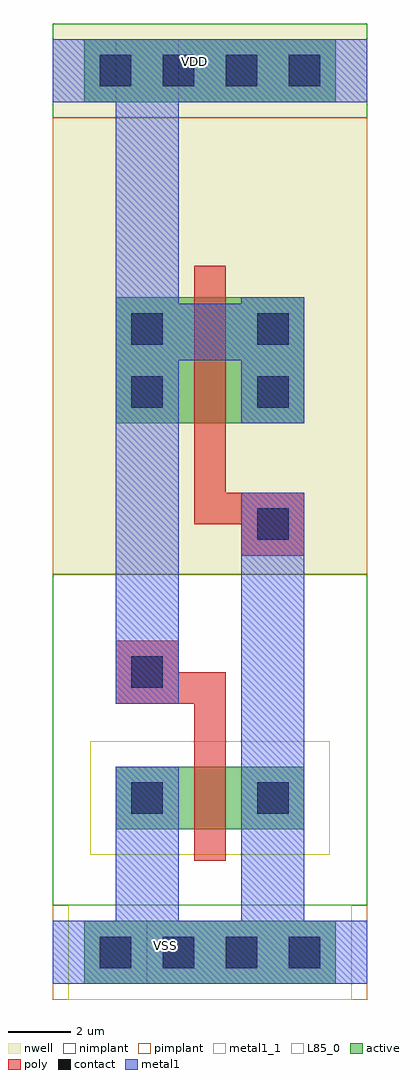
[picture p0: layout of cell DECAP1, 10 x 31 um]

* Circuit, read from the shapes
.subckt DECAP1 VDD VSS
M1 VSS VDD VSS VSS nfet w=2u l=1u
M2 VDD VSS VDD VDD pfet w=4u l=1u
.ends

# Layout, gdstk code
import gdstk
lib = gdstk.Library(unit=1e-6, precision=5e-10)
def R(c, l, rs):  # rectangles x0, y0, x1, y1
    for r in rs: c.add(gdstk.rectangle(r[:2], r[2:], *l))
def A(c, l, x, y, w, h, nx, ny, dx, dy):  # array of equal rectangles
    R(c, l, [(x+i*dx, y+j*dy, x+i*dx+w, y+j*dy+h) for i in range(nx) for j in range(ny)])
active = (1, 0)
nwell = (2, 0)
poly = (3, 0)
nimplant = (4, 0)
pimplant = (5, 0)
contact = (6, 0)
metal1 = (7, 0)
metal1_1 = (7, 1)
L85_0 = (85, 0)

nmos4_cdns_4 = lib.new_cell('nmos4_CDNS_4')
R(nmos4_cdns_4, active, [(1,1,7,3)])
R(nmos4_cdns_4, poly, [(3.5,0,4.5,4), (3.6,3.4,4.4,3.9)])
R(nmos4_cdns_4, nimplant, [(0,0,8,4)])
R(nmos4_cdns_4, contact, [(1.5,1.5,2.5,2.5), (5.5,1.5,6.5,2.5)])
R(nmos4_cdns_4, metal1, [(1,1,3,3), (5,1,7,3), (1.3,1.3,2.7,2.7), (5.3,1.3,6.7,2.7)])
R(nmos4_cdns_4, L85_0, [(0.2,0.2,7.8,3.8)])

pmos4_cdns_5 = lib.new_cell('pmos4_CDNS_5')
R(pmos4_cdns_5, active, [(1,1,7,5)])
R(pmos4_cdns_5, nwell, [(0.2,0.2,7.8,5.8)])
R(pmos4_cdns_5, poly, [(3.5,0,4.5,6), (3.6,5.5,4.4,5.9)])
R(pmos4_cdns_5, pimplant, [(0,0,8,6)])
R(pmos4_cdns_5, contact, [(1.5,1.5,2.5,2.5), (5.5,1.5,6.5,2.5), (1.5,3.5,2.5,4.5), (5.5,3.5,6.5,4.5)])
R(pmos4_cdns_5, metal1, [(1,1,3,5), (5,1,7,5), (1.3,1.3,2.7,2.7), (5.3,1.3,6.7,2.7)])

m1_psub_cdns_1 = lib.new_cell('M1_PSUB_CDNS_1')
R(m1_psub_cdns_1, active, [(-4,-1,4,1)])
R(m1_psub_cdns_1, pimplant, [(-4.5,-1.5,4.5,1.5)])
A(m1_psub_cdns_1, contact, -3.5, -0.5, 1, 1, 4, 1, 2, 0)
R(m1_psub_cdns_1, metal1, [(-4,-1,4,1)])
R(m1_psub_cdns_1, L85_0, [(-4.5,-1.5,4.5,1.5)])

m1_nwell_cdns_2 = lib.new_cell('M1_NWELL_CDNS_2')
R(m1_nwell_cdns_2, active, [(-4,-1,4,1)])
R(m1_nwell_cdns_2, nwell, [(-4.5,-1.5,4.5,1.5)])
R(m1_nwell_cdns_2, nimplant, [(-4.5,-1.5,4.5,1.5)])
A(m1_nwell_cdns_2, contact, -3.5, -0.5, 1, 1, 4, 1, 2, 0)
R(m1_nwell_cdns_2, metal1, [(-4,-1,4,1)])

m1_po_cdns_3 = lib.new_cell('M1_PO_CDNS_3')
R(m1_po_cdns_3, poly, [(-1,-1,1,1)])
R(m1_po_cdns_3, contact, [(-0.5,-0.5,0.5,0.5)])
R(m1_po_cdns_3, metal1, [(-1,-1,1,1)])

decap1 = lib.new_cell('DECAP1')
R(decap1, nwell, [(0,12,10,29.5)])
R(decap1, poly, [(3.8,7.9,5.5,8.9), (4.5,13.6,6.2,14.6)])
R(decap1, nimplant, [(0,1.5,10,12), (0,26.5,10,29.5)])
R(decap1, pimplant, [(0,-1.5,10,1.5), (0,12,10,26.5)])
R(decap1, metal1, [(0,-1,10,1), (6,-0.3,8,14.3), (2,0,4,4.6), (2,7.9,4,18.1), (2,16,4,28.5), (2,18.8,8,20.6), (0,27,10,29)])
R(decap1, metal1_1, [(1,-1,3,1), (2,27,4,29)])
decap1.add(gdstk.FlexPath([(5,6.8),(5,8.9)], 1, ends="flush", simple_path=True, layer=3, datatype=0))  # poly
decap1.add(gdstk.FlexPath([(5,15.8),(5,14.1)], 1, ends="flush", simple_path=True, layer=3, datatype=0))  # poly
decap1.add(gdstk.Reference(nmos4_cdns_4, (1,2.9)))
decap1.add(gdstk.Reference(pmos4_cdns_5, (1,15.8)))
decap1.add(gdstk.Reference(m1_psub_cdns_1, (5,0)))
decap1.add(gdstk.Reference(m1_nwell_cdns_2, (5,28)))
decap1.add(gdstk.Reference(m1_po_cdns_3, (7,13.6)))
decap1.add(gdstk.Reference(m1_po_cdns_3, (3,8.9)))
decap1.add(gdstk.Label('VSS', (3.6,0.2), layer=7, texttype=3))
decap1.add(gdstk.Label('VDD', (4.5,28.3), layer=7, texttype=3))

lib.write_gds('DECAP1.gds')
